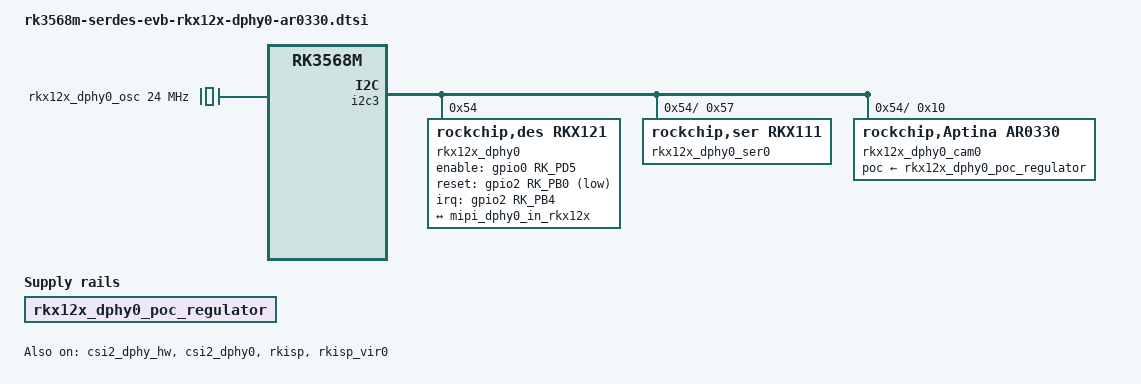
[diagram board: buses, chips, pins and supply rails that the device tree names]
// SPDX-License-Identifier: (GPL-2.0+ OR MIT)
/*
 * Copyright (c) 2024 Rockchip Electronics Co., Ltd.
 *
 */
#include <dt-bindings/display/media-bus-format.h>

/ {
	rkx12x_dphy0_osc: rkx12x-dphy0-oscillator {
		compatible = "fixed-clock";
		#clock-cells = <1>;
		clock-frequency = <24000000>;
		clock-output-names = "rkx12x-dphy0-osc";
	};

	rkx12x_dphy0_poc_regulator: rkx12x-dphy0-poc-regulator {
		compatible = "regulator-fixed";
		regulator-name = "rkx12x_dphy0_poc";
	};
};

&csi2_dphy_hw {
	status = "okay";
};

&csi2_dphy0 {
	status = "okay";

	ports {
		#address-cells = <1>;
		#size-cells = <0>;
		port@0 {
			reg = <0>;
			#address-cells = <1>;
			#size-cells = <0>;

			mipi_dphy0_in_rkx12x: endpoint@1 {
				reg = <1>;
				remote-endpoint = <&rkx12x_dphy0_out>;
				data-lanes = <1 2>;
			};
		};

		port@1 {
			reg = <1>;
			#address-cells = <1>;
			#size-cells = <0>;

			csi2_dphy0_out: endpoint@0 {
				reg = <0>;
				remote-endpoint = <&isp_vir0_in>;
			};
		};
	};
};

&i2c3 {
	status = "okay";

	rkx12x_dphy0: rkx121@54 {
		compatible = "rockchip,des,rkx121";
		status = "okay";
		reg = <0x54>;
		clock-names = "xvclk";
		clocks = <&rkx12x_dphy0_osc 0>;
		pinctrl-names = "default";
		pinctrl-0 = <&rkx12x_dphy0_enable>, <&rkx12x_dphy0_reset>, <&rkx12x_dphy0_irq>;
		enable-gpios = <&gpio0 RK_PD5 GPIO_ACTIVE_HIGH>;
		reset-gpios = <&gpio2 RK_PB0 GPIO_ACTIVE_LOW>;
		irq-gpios = <&gpio2 RK_PB4 GPIO_ACTIVE_HIGH>;

		rockchip,camera-module-index = <0>;
		rockchip,camera-module-facing = "back";
		rockchip,camera-module-name = "TongJu";
		rockchip,camera-module-lens-name = "CHT842-MD";
		rockchip,camera-module-sensor-name = "ar0330";

		port {
			rkx12x_dphy0_out: endpoint {
				remote-endpoint = <&mipi_dphy0_in_rkx12x>;
				data-lanes = <1 2>;
			};
		};

		/* support mode config start */
		support-mode-config {
			status = "okay";

			bus-format = <MEDIA_BUS_FMT_SGRBG12_1X12>;
			sensor-width = <1920>;
			sensor-height = <1272>;
			crop-rect = <0 0 1920 1080>; // [ left, top, width, height ]
			max-fps-numerator = <10000>;
			max-fps-denominator = <300000>;
			bpp = <12>;
			link-freq-idx = <8>;
		};
		/* support mode config end */

		/* serdes local device start */
		serdes-local-device {
			status = "okay";

			stream-port = <0>; /* port: 0 or 1 */
			stream-interface = <0>; /* interface: 0 = csi, 1 = dvp */
			serdes-dclk-hz = <300000000>; // serdes dclk freq

			/* rklink lane config start */
			link-rate = <0>; /* 2GBPS_83MBPS */
			link-line = <0>; /* 0: common, 1: short, 2: long */
			lane-engine-id = <0>;
			lane-engine-delay = <12288>;
			lane-remote-ser = <&rkx12x_dphy0_ser0>; // remote serializer
			lane-remote-cam = <&rkx12x_dphy0_cam0>; // remote camera
			/* rklink lane config end */

			/* txphy config start */
			txphy-clock-mode = <0>; /* 0: continuous, 1: non-continuous */
			/* txphy config end */

			/* csi2tx config start */
			csi2tx-format = <3>; /* default: 3 */
			/* csi2tx config end */

			/* local device extra init sequence */
			extra-init-sequence {
				status = "disabled";

				/*
				 * rkx12x register init sequence
				 *   reg_addr: 32bits
				 *     reg_addr = FFFFFFFF: register end
				 *     reg_addr = FFFFFFFE: delay (unit: us)
				 *   reg_val: 32bits
				 *   val_mask: 32bits
				 */
				init-sequence = [
					// common init sequence such as fsync / gpio and so on
				];
			};
		};
		/* serdes local device end */

		/* i2c-mux start */
		i2c-mux {
			#address-cells = <1>;
			#size-cells = <0>;

			i2c@0 {
				#address-cells = <1>;
				#size-cells = <0>;
				reg = <0>;

				// Note: Serializer node defined before camera node
				rkx12x_dphy0_ser0: rkx111@57 {
					compatible = "rockchip,ser,rkx111";
					reg = <0x57>;

					stream-interface = <0>; // 0: MIPI, 1: DVP, 2: LVDS
					serdes-dclk-hz = <300000000>; // serdes dclk freq
					camera-mclk-hz = <24000000>; // camera mclk freq
					camera-mclk-id = <1>; // camera mclk id: 0 or 1

					rxphy-data-lanes = <1 2>; // rxphy data lane

					vicap-csi {
						csi-vc-id-0 {
							vc-id = <0>; // vc id: 0 ~ 3

							virtual-channel = <0>; // vc: 0 ~ 3
							width = <1920>;
							height = <1272>;
							data-type = <0x2c>; // vicap data type, same as mipi data type
							parse-type = <2>; // vicap parse type: 0 - RAW8, 1 - RAW10, 2 - RAW12, 4 - YUV422
						};
					};

					linktx {
						lane-config-0 {
							lane-id = <0>; // Lane ID: 0/1
							dsource-id = <0>;
						};
					};

					/* serializer init sequence start */
					ser-init-sequence {
						status = "okay";

						/*
						 * rkx11x register init sequence
						 *   reg_addr: 32bits
						 *     reg_addr = FFFFFFFF: register end
						 *     reg_addr = FFFFFFFE: delay (unit: us)
						 *   reg_val: 32bits
						 *   val_mask: 32bits
						 */
						init-sequence = [
							/* camera gpio: reset, pwren, pwdn */
							00010008 0E000000 00000000 // iomux: GPIO0_B3
							00010004 01C70000 00000000 // iomux: GPIO0_A5 and GPIO0_A7
							00040008 08A008A0 00000000 // output direction: GPIO0_A5 GPIO0_A7 and GPIO0_B3
							00040000 00200000 00000000 // RESET (GPIO0_A5): active level = 0: output 0
							FFFFFFFE 000003E8 00000000 // delay: 1000us
							00040000 08000800 00000000 // PWREN (GPIO0_B3): active level = 1: output 1
							FFFFFFFE 00002710 00000000 // delay: 10000us
							00040000 00800000 00000000 // PWDN (GPIO0_A7) active level = 1: output 0
							FFFFFFFE 000003E8 00000000 // delay: 1000us
							00040000 00200020 00000000 // RESET (GPIO0_A5): deactive level = 1: output 1
							FFFFFFFE 000003E8 00000000 // delay: 1000us
						];
					};
					/* serializer init sequence end */
				};

				rkx12x_dphy0_cam0: ar0330@10 {
					compatible = "rockchip,Aptina,ar0330";
					reg = <0x10>;

					cam-remote-ser = <&rkx12x_dphy0_ser0>; // remote serializer

					poc-supply = <&rkx12x_dphy0_poc_regulator>;

					rockchip,camera-module-index = <0>;
					rockchip,camera-module-facing = "back";
					rockchip,camera-module-name = "TongJu";
					rockchip,camera-module-lens-name = "CHT842-MD";

					/* port config start */
					port {
						rkx12x_dphy0_cam0_out: endpoint {
							data-lanes = <1 2>;
						};
					};
					/* port config end */
				};
			};
		};
		/* i2c-mux end */
	};
};

&rkisp {
	status = "okay";
};

&rkisp_mmu {
	status = "okay";
};

&rkisp_vir0 {
	status = "okay";

	port {
		#address-cells = <1>;
		#size-cells = <0>;

		isp_vir0_in: endpoint@0 {
			reg = <0>;
			remote-endpoint = <&csi2_dphy0_out>;
		};
	};
};

&pinctrl {
	rkx12x-dphy0 {
		rkx12x_dphy0_enable: rkx12x-dphy0-enable {
			rockchip,pins = <0 RK_PD5 RK_FUNC_GPIO &pcfg_pull_none>;
		};

		rkx12x_dphy0_reset: rkx12x-dphy0-reset {
			rockchip,pins = <2 RK_PB0 RK_FUNC_GPIO &pcfg_pull_none>;
		};

		rkx12x_dphy0_irq: rkx12x-dphy0-irq {
			rockchip,pins = <2 RK_PB4 RK_FUNC_GPIO &pcfg_pull_none>;
		};
	};
};
